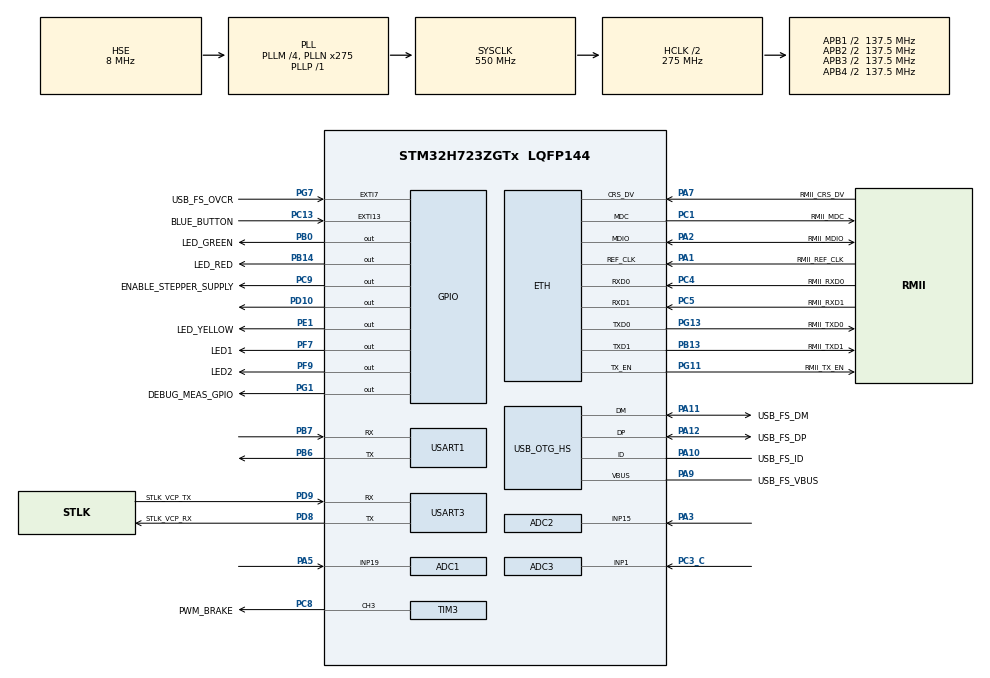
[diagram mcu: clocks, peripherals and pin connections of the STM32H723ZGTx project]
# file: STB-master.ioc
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ADC1.Channel-3\#ChannelRegularConversion=ADC_CHANNEL_19
ADC1.ClockPrescaler=ADC_CLOCK_SYNC_PCLK_DIV2
ADC1.ConversionDataManagement=ADC_CONVERSIONDATA_DMA_CIRCULAR
ADC1.EOCSelection=ADC_EOC_SEQ_CONV
ADC1.ExternalTrigConv=ADC_EXTERNALTRIG_T1_CC1
ADC1.NbrOfConversionFlag=1
ADC1.OffsetSignedSaturation-3\#ChannelRegularConversion=DISABLE
ADC1.Resolution=ADC_RESOLUTION_12B
ADC1.SamplingTime-3\#ChannelRegularConversion=ADC_SAMPLETIME_387CYCLES_5
ADC1.master=1
ADC2.Channel-2\#ChannelRegularConversion=ADC_CHANNEL_15
ADC2.ClockPrescaler=ADC_CLOCK_SYNC_PCLK_DIV2
ADC2.ConversionDataManagement=ADC_CONVERSIONDATA_DMA_CIRCULAR
ADC2.EOCSelection=ADC_EOC_SEQ_CONV
ADC2.ExternalTrigConv=ADC_EXTERNALTRIG_T1_CC2
ADC2.NbrOfConversionFlag=1
ADC2.OffsetSignedSaturation-2\#ChannelRegularConversion=DISABLE
ADC2.Resolution=ADC_RESOLUTION_12B
ADC2.SamplingTime-2\#ChannelRegularConversion=ADC_SAMPLETIME_387CYCLES_5
ADC3.Channel-0\#ChannelRegularConversion=ADC_CHANNEL_1
ADC3.ClockPrescaler=ADC_CLOCK_SYNC_PCLK_DIV2
ADC3.ConversionDataManagement=ADC_CONVERSIONDATA_DMA_CIRCULAR
ADC3.DMAContinuousRequests=ENABLE
ADC3.EOCSelection=ADC_EOC_SEQ_CONV
ADC3.ExternalTrigConv=ADC_EXTERNALTRIG_T1_CC3
ADC3.NbrOfConversionFlag=1
ADC3.SamplingTime-0\#ChannelRegularConversion=ADC3_SAMPLETIME_640CYCLES_5
Dma.ADC1.2.Direction=DMA_PERIPH_TO_MEMORY
Dma.ADC1.2.EventEnable=DISABLE
Dma.ADC1.2.FIFOMode=DMA_FIFOMODE_DISABLE
Dma.ADC1.2.Instance=DMA1_Stream1
Dma.ADC1.2.MemDataAlignment=DMA_MDATAALIGN_HALFWORD
Dma.ADC1.2.MemInc=DMA_MINC_ENABLE
Dma.ADC1.2.Mode=DMA_CIRCULAR
Dma.ADC1.2.PeriphDataAlignment=DMA_PDATAALIGN_HALFWORD
Dma.ADC1.2.PeriphInc=DMA_PINC_DISABLE
Dma.ADC1.2.Polarity=HAL_DMAMUX_REQ_GEN_RISING
Dma.ADC1.2.Priority=DMA_PRIORITY_MEDIUM
Dma.ADC1.2.RequestNumber=1
Dma.ADC1.2.SignalID=NONE
Dma.ADC1.2.SyncEnable=DISABLE
Dma.ADC1.2.SyncPolarity=HAL_DMAMUX_SYNC_NO_EVENT
Dma.ADC1.2.SyncRequestNumber=1
Dma.ADC1.2.SyncSignalID=NONE
Dma.ADC2.1.Direction=DMA_PERIPH_TO_MEMORY
Dma.ADC2.1.EventEnable=DISABLE
Dma.ADC2.1.FIFOMode=DMA_FIFOMODE_DISABLE
Dma.ADC2.1.Instance=DMA1_Stream0
Dma.ADC2.1.MemDataAlignment=DMA_MDATAALIGN_HALFWORD
Dma.ADC2.1.MemInc=DMA_MINC_ENABLE
Dma.ADC2.1.Mode=DMA_CIRCULAR
Dma.ADC2.1.PeriphDataAlignment=DMA_PDATAALIGN_HALFWORD
Dma.ADC2.1.PeriphInc=DMA_PINC_DISABLE
Dma.ADC2.1.Polarity=HAL_DMAMUX_REQ_GEN_RISING
Dma.ADC2.1.Priority=DMA_PRIORITY_MEDIUM
Dma.ADC2.1.RequestNumber=1
Dma.ADC2.1.SignalID=NONE
Dma.ADC2.1.SyncEnable=DISABLE
Dma.ADC2.1.SyncPolarity=HAL_DMAMUX_SYNC_NO_EVENT
Dma.ADC2.1.SyncRequestNumber=1
Dma.ADC2.1.SyncSignalID=NONE
Dma.ADC3.0.Direction=DMA_PERIPH_TO_MEMORY
Dma.ADC3.0.EventEnable=DISABLE
Dma.ADC3.0.FIFOMode=DMA_FIFOMODE_DISABLE
Dma.ADC3.0.Instance=DMA1_Stream2
Dma.ADC3.0.MemDataAlignment=DMA_MDATAALIGN_HALFWORD
Dma.ADC3.0.MemInc=DMA_MINC_ENABLE
Dma.ADC3.0.Mode=DMA_CIRCULAR
Dma.ADC3.0.PeriphDataAlignment=DMA_PDATAALIGN_HALFWORD
Dma.ADC3.0.PeriphInc=DMA_PINC_DISABLE
Dma.ADC3.0.Polarity=HAL_DMAMUX_REQ_GEN_RISING
Dma.ADC3.0.Priority=DMA_PRIORITY_MEDIUM
Dma.ADC3.0.RequestNumber=1
Dma.ADC3.0.SignalID=NONE
Dma.ADC3.0.SyncEnable=DISABLE
Dma.ADC3.0.SyncPolarity=HAL_DMAMUX_SYNC_NO_EVENT
Dma.ADC3.0.SyncRequestNumber=1
Dma.ADC3.0.SyncSignalID=NONE
Dma.Request0=ADC3
Dma.Request1=ADC2
Dma.Request2=ADC1
ETH.MediaInterface=HAL_ETH_RMII_MODE
Mcu.Family=STM32H7
Mcu.Name=STM32H723ZGTx
Mcu.Package=LQFP144
NVIC.ADC3_IRQn=true\:0\:0\:false\:false\:true\:true\:true\:true
NVIC.ADC_IRQn=true\:0\:0\:false\:false\:true\:true\:true\:true
NVIC.DMA1_Stream0_IRQn=true\:0\:0\:false\:false\:true\:false\:true\:true
NVIC.DMA1_Stream1_IRQn=true\:0\:0\:false\:false\:true\:false\:true\:true
NVIC.DMA1_Stream2_IRQn=true\:0\:0\:false\:false\:true\:false\:true\:true
NVIC.EXTI15_10_IRQn=true\:0\:0\:false\:false\:true\:true\:true\:true
NVIC.PriorityGroup=NVIC_PRIORITYGROUP_4
NVIC.TIM1_BRK_IRQn=true\:0\:0\:false\:false\:true\:true\:true\:true
NVIC.TIM1_CC_IRQn=true\:0\:0\:false\:false\:true\:true\:true\:true
NVIC.TIM1_TRG_COM_IRQn=true\:0\:0\:false\:false\:true\:true\:true\:true
NVIC.TIM1_UP_IRQn=true\:0\:0\:false\:false\:true\:true\:true\:true
NVIC.TIM5_IRQn=true\:0\:0\:false\:false\:true\:true\:true\:true
NVIC.USART1_IRQn=true\:0\:0\:false\:false\:true\:true\:true\:true
NVIC.USART3_IRQn=true\:0\:0\:false\:false\:true\:true\:true\:true
PA1.GPIO_Label=RMII_REF_CLK
PA1.Mode=RMII
PA1.Signal=ETH_REF_CLK
PA10.GPIO_Label=USB_FS_ID
PA10.Mode=OTG/Dual-Role-Device-FS
PA10.Signal=USB_OTG_HS_ID
PA11.GPIO_Label=USB_FS_DM
PA11.Mode=OTG/Dual-Role-Device-FS
PA11.Signal=USB_OTG_HS_DM
PA12.GPIO_Label=USB_FS_DP
PA12.Mode=OTG/Dual-Role-Device-FS
PA12.Signal=USB_OTG_HS_DP
PA13(JTMS/SWDIO).GPIO_Label=SWDIO
PA13(JTMS/SWDIO).Mode=Trace_Asynchronous_SW
PA13(JTMS/SWDIO).Signal=DEBUG_JTMS-SWDIO
PA14(JTCK/SWCLK).GPIO_Label=SWCLK
PA14(JTCK/SWCLK).Mode=Trace_Asynchronous_SW
PA14(JTCK/SWCLK).Signal=DEBUG_JTCK-SWCLK
PA2.GPIO_Label=RMII_MDIO
PA2.Mode=RMII
PA2.Signal=ETH_MDIO
PA3.GPIO_Mode=GPIO_MODE_ANALOG
PA3.GPIO_PuPd=GPIO_NOPULL
PA3.Signal=ADCx_INP15
PA5.GPIO_Mode=GPIO_MODE_ANALOG
PA5.GPIO_PuPd=GPIO_NOPULL
PA5.Signal=ADCx_INP19
PA7.GPIO_Label=RMII_CRS_DV
PA7.Mode=RMII
PA7.Signal=ETH_CRS_DV
PA9.GPIO_Label=USB_FS_VBUS
PA9.Mode=Activate_VBUS_FS
PA9.Signal=USB_OTG_HS_VBUS
PB0.GPIO_Label=LED_GREEN
PB0.Signal=GPIO_Output
PB13.GPIO_Label=RMII_TXD1
PB13.Mode=RMII
PB13.Signal=ETH_TXD1
PB14.GPIO_Label=LED_RED
PB14.Signal=GPIO_Output
PB3(JTDO/TRACESWO).GPIO_Label=SWO
PB3(JTDO/TRACESWO).Mode=Trace_Asynchronous_SW
PB3(JTDO/TRACESWO).Signal=DEBUG_JTDO-SWO
PB6.Mode=Asynchronous
PB6.Signal=USART1_TX
PB7.Mode=Asynchronous
PB7.Signal=USART1_RX
PC1.GPIO_Label=RMII_MDC
PC1.Mode=RMII
PC1.Signal=ETH_MDC
PC13.GPIO_Label=BLUE_BUTTON
PC13.Signal=GPXTI13
PC14-OSC32_IN.Mode=LSE-External-Oscillator
PC14-OSC32_IN.Signal=RCC_OSC32_IN
PC15-OSC32_OUT.Mode=LSE-External-Oscillator
PC15-OSC32_OUT.Signal=RCC_OSC32_OUT
PC3_C.GPIO_Mode=GPIO_MODE_ANALOG
PC3_C.GPIO_PuPd=GPIO_NOPULL
PC3_C.Mode=IN1-Single-Ended
PC3_C.Signal=ADC3_INP1
PC4.GPIO_Label=RMII_RXD0
PC4.Mode=RMII
PC4.Signal=ETH_RXD0
PC5.GPIO_Label=RMII_RXD1
PC5.Mode=RMII
PC5.Signal=ETH_RXD1
PC8.GPIO_Label=PWM_BRAKE
PC8.Signal=S_TIM3_CH3
PC9.GPIO_Label=ENABLE_STEPPER_SUPPLY
PC9.Signal=GPIO_Output
PD10.Signal=GPIO_Output
PD8.GPIO_Label=STLK_VCP_RX
PD8.Mode=Asynchronous
PD8.Signal=USART3_TX
PD9.GPIO_Label=STLK_VCP_TX
PD9.Mode=Asynchronous
PD9.Signal=USART3_RX
PE1.GPIO_Label=LED_YELLOW
PE1.Signal=GPIO_Output
PF7.GPIO_Label=LED1
PF7.Signal=GPIO_Output
PF9.GPIO_Label=LED2
PF9.Signal=GPIO_Output
PG1.GPIO_Label=DEBUG_MEAS_GPIO
PG1.Signal=GPIO_Output
PG11.GPIO_Label=RMII_TX_EN
PG11.Mode=RMII
PG11.Signal=ETH_TX_EN
PG13.GPIO_Label=RMII_TXD0
PG13.Mode=RMII
PG13.Signal=ETH_TXD0
PG7.GPIO_Label=USB_FS_OVCR
PG7.Signal=GPXTI7
PH0-OSC_IN.GPIO_Label=MCO
PH0-OSC_IN.Mode=HSE-External-Clock-Source
PH0-OSC_IN.Signal=RCC_OSC_IN
PH1-OSC_OUT.Signal=RCC_OSC_OUT
ProjectManager.HeapSize=0x200
ProjectManager.StackSize=0x400
ProjectManager.TargetToolchain=Makefile
RCC.ADCFreq_Value=96000000
RCC.APB1Freq_Value=137500000
RCC.APB2Freq_Value=137500000
RCC.APB3Freq_Value=137500000
RCC.APB4Freq_Value=137500000
RCC.CortexFreq_Value=550000000
RCC.D1PPRE=RCC_APB3_DIV2
RCC.D2PPRE1=RCC_APB1_DIV2
RCC.D2PPRE2=RCC_APB2_DIV2
RCC.D3PPRE=RCC_APB4_DIV2
RCC.DIVM1=4
RCC.DIVM2=1
RCC.DIVN1=275
RCC.DIVN2=24
RCC.DIVP1=1
RCC.DIVQ1=4
RCC.HCLKFreq_Value=275000000
RCC.HPRE=RCC_HCLK_DIV2
RCC.HSE_VALUE=8000000
RCC.PLLSourceVirtual=RCC_PLLSOURCE_HSE
RCC.SYSCLKFreq_VALUE=550000000
RCC.SYSCLKSource=RCC_SYSCLKSOURCE_PLLCLK
RCC.USBCLockSelection=RCC_USBCLKSOURCE_HSI48
RCC.USBFreq_Value=48000000
SH.ADCx_INP15.0=ADC2_INP15,IN15-Single-Ended
SH.ADCx_INP19.0=ADC1_INP19,IN19-Single-Ended
SH.S_TIM3_CH3.0=TIM3_CH3,PWM Generation3 CH3
TIM1.AutoReloadPreload=TIM_AUTORELOAD_PRELOAD_ENABLE
TIM1.Channel-PWM\ Generation1\ No\ Output=TIM_CHANNEL_1
TIM1.Channel-PWM\ Generation2\ No\ Output=TIM_CHANNEL_2
TIM1.Channel-PWM\ Generation3\ No\ Output=TIM_CHANNEL_3
TIM1.Period=275 - 1
TIM1.Prescaler=5000 - 1
TIM1.Pulse-PWM\ Generation1\ No\ Output=275 - 1
TIM1.Pulse-PWM\ Generation2\ No\ Output=275 - 1
TIM1.Pulse-PWM\ Generation3\ No\ Output=275 - 1
TIM1.TIM_MasterOutputTrigger=TIM_TRGO_UPDATE
TIM1.TIM_MasterSlaveMode=TIM_MASTERSLAVEMODE_ENABLE
TIM3.Channel-PWM\ Generation3\ CH3=TIM_CHANNEL_3
TIM3.Period=40
TIM3.Prescaler=137
TIM5.AutoReloadPreload=TIM_AUTORELOAD_PRELOAD_ENABLE
TIM5.Channel-Output\ Compare1\ No\ Output=TIM_CHANNEL_1
TIM5.Channel-Output\ Compare2\ No\ Output=TIM_CHANNEL_2
TIM5.Channel-Output\ Compare3\ No\ Output=TIM_CHANNEL_3
TIM5.OCMode_3=TIM_OCMODE_ACTIVE
TIM5.Period=275 - 1
TIM5.Prescaler=5000 - 1
TIM5.Pulse-Output\ Compare1\ No\ Output=275 - 1
TIM5.Pulse-Output\ Compare2\ No\ Output=275 - 1
TIM5.Pulse-Output\ Compare3\ No\ Output=275 - 1
TIM5.TIM_MasterOutputTrigger=TIM_TRGO_UPDATE
USART1.VirtualMode-Asynchronous=VM_ASYNC
USART3.VirtualMode-Asynchronous=VM_ASYNC
VP_TIM1_VS_ClockSourceINT.Mode=Internal
VP_TIM1_VS_ClockSourceITR.Mode=TriggerSource_ITR0
VP_TIM1_VS_no_output1.Mode=PWM Generation1 No Output
VP_TIM1_VS_no_output2.Mode=PWM Generation2 No Output
VP_TIM1_VS_no_output3.Mode=PWM Generation3 No Output
VP_TIM5_VS_ClockSourceINT.Mode=Internal
VP_TIM5_VS_no_output1.Mode=Output Compare1 No Output
VP_TIM5_VS_no_output2.Mode=Output Compare2 No Output
VP_TIM5_VS_no_output3.Mode=Output Compare3 No Output
board=NUCLEO-H723ZG

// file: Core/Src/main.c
/* USER CODE BEGIN Header */
/**
 ******************************************************************************
 * @file           : main.c
 * @brief          : Main program body
 ******************************************************************************
 * @attention
 *
 * <h2><center>&copy; Copyright (c) 2022 STMicroelectronics.
 * All rights reserved.</center></h2>
 *
 * This software component is licensed by ST under BSD 3-Clause license,
 * the "License"; You may not use this file except in compliance with the
 * License. You may obtain a copy of the License at:
 *                        opensource.org/licenses/BSD-3-Clause
 *
 ******************************************************************************
 */
/* USER CODE END Header */
#include "main.h"
#include "adc.h"
#include "dma.h"
#include "eth.h"
#include "tim.h"
#include "usart.h"
#include "usb_otg.h"
#include "gpio.h"

/* USER CODE BEGIN Includes */
#include "brake.h"
#include "pwm.h"
#include "slave_cmd_utils.h"
#include "timer_utils.h"

#include <stdbool.h>
#include <stdio.h>
#include <string.h>
/* USER CODE END Includes */

/* USER CODE BEGIN PD */
#define CMD_PAYLOAD_LENGHT       100
#define MAX_CMD_SEND_ATTEMPTS    100
#define MAX_ACK_DELAY_ALLOWED_MS 200
/* USER CODE END PD */

/* USER CODE BEGIN PV */

typedef struct {
    bool is_word_complete;
    char cmd_received[CMD_PAYLOAD_LENGHT];
    char last_char_received;
    uint8_t char_index;
} uart_rx_handler;

uart_rx_handler gui_cmd_handler;
uart_rx_handler slave_cmd_handler;

typedef enum {
    INIT = 0U,
    WAITING_FOR_CMD,
    CMD_RECEIVED,
    SEND_START_MOTOR_CMD,
    GET_MOTOR_ACK_ON_START,
    MOTOR_IS_RUNNING,
    SENSORS_READING,
    SEND_STOP_MOTOR_CMD,
    GET_MOTOR_ACK_ON_STOP,
    MOTOR_IS_STOPPED
} master_state;

typedef struct {
    master_state current_state;
    master_state next_state;
    bool go_to_next_state;
} master_state_machine;

master_state_machine msm_handler;

typedef struct {
    bool is_powered;
} stepper_handler;

stepper_handler stepper;
uint8_t sendings_attempts_done = 0;
uint32_t current_tick          = 0;
uint32_t deadline              = 0;

// ADC variables
volatile float torque_gpio;
volatile float board_voltage;
volatile float stepper_current;
char adc_out[100];
/* USER CODE END PV */

void SystemClock_Config(void);
/* USER CODE BEGIN PFP */
bool parse_gui_cmd(char *cmd_rx);
void reset_cmd(uart_rx_handler *uart_handler);
void update_sensor_values();
void update_sensor_values_and_print();
/* USER CODE END PFP */

int main(void)
{
  /* USER CODE BEGIN 1 */

    // INIT PHASE
    msm_handler.current_state    = INIT;
    msm_handler.next_state       = WAITING_FOR_CMD;
    msm_handler.go_to_next_state = true;
    reset_cmd(&gui_cmd_handler);
    reset_cmd(&slave_cmd_handler);
    stepper.is_powered = false;

    uint32_t sensor_time = 5000;
  /* USER CODE END 1 */

  /* MCU Configuration--------------------------------------------------------*/

  /* Reset of all peripherals, Initializes the Flash interface and the Systick. */
  HAL_Init();

  /* USER CODE BEGIN Init */
    MX_GPIO_Init();
    MX_DMA_Init();
  /* USER CODE END Init */

  /* Configure the system clock */
  SystemClock_Config();

  /* Initialize all configured peripherals */
  MX_GPIO_Init();
  MX_ETH_Init();
  MX_USART3_UART_Init();
  MX_USB_OTG_HS_USB_Init();
  MX_ADC1_Init();
  MX_ADC2_Init();
  MX_USART1_UART_Init();
  MX_TIM1_Init();
  MX_DMA_Init();
  MX_ADC3_Init();
  MX_TIM3_Init();
  MX_TIM5_Init();
  /* USER CODE BEGIN 2 */

    /*
        Please note that sometimes CubeMX will put MX_DMA_Init() after all the MX_ADCx_Init() functions
        this may be occur in some DMA errors, as conquence it's it advised to keep the following structure:

        MX_GPIO_Init();
        MX_DMA_Init();
        SystemClock_Config();
        ...
        MX_ADC1_Init();
        MX_ADC2_Init();
        MX_ADC3_Init();

        In the case where DMA goes into overrun error please check this
        https://community.st.com/s/article/FAQ-DMA-is-not-working-on-STM32H7-devices

    */

    HAL_GPIO_WritePin(ENABLE_STEPPER_SUPPLY_GPIO_Port, ENABLE_STEPPER_SUPPLY_Pin, GPIO_PIN_RESET);
    memset(adc_out, 0x00, sizeof(adc_out));
    brake_init(&magnetic_brake);
    brake_set_pwm_duty_cycle(&magnetic_brake, 0.5);

    ADC_Calibration();
    ADC_start_DMA_readings();

  /* USER CODE END 2 */

  /* Infinite loop */
  /* USER CODE BEGIN WHILE */
    while (1) {
        if (msm_handler.go_to_next_state) {
            msm_handler.current_state = msm_handler.next_state;
        }
        switch (msm_handler.current_state) {
            case INIT:
                HAL_NVIC_SystemReset();
                break;
            case WAITING_FOR_CMD:
                // Continuous receiving
                HAL_UART_Receive_IT(&UART_USB, (uint8_t *)&gui_cmd_handler.last_char_received, sizeof(char));
                if (gui_cmd_handler.is_word_complete) {
                    msm_handler.next_state       = CMD_RECEIVED;
                    msm_handler.go_to_next_state = true;
                }
                break;
            case CMD_RECEIVED:
                if (parse_gui_cmd(gui_cmd_handler.cmd_received) &&
                    strcmp(gui_cmd_handler.cmd_received, "start_motor\r\n") == 0) {
                    // IDEALLY THE MOTOR RUNS FOREVER
                    msm_handler.next_state       = SEND_START_MOTOR_CMD;
                    msm_handler.go_to_next_state = true;
                } else {
                    msm_handler.next_state       = WAITING_FOR_CMD;
                    msm_handler.go_to_next_state = true;
                }
                reset_cmd(&gui_cmd_handler);
                break;
            case SEND_START_MOTOR_CMD:
                if (sendings_attempts_done < MAX_CMD_SEND_ATTEMPTS) {
                    HAL_UART_Transmit(&UART_SLAVE, (uint8_t *)"fw+999999\r\n", sizeof("fw+999999\r\n"), 100);
                    reset_cmd(&slave_cmd_handler);
                    sendings_attempts_done++;
                    msm_handler.next_state       = GET_MOTOR_ACK_ON_START;
                    msm_handler.go_to_next_state = true;
                } else {
                    msm_handler.next_state       = WAITING_FOR_CMD;
                    msm_handler.go_to_next_state = true;
                    sendings_attempts_done       = 0;
                }
                break;
            case GET_MOTOR_ACK_ON_START:
                current_tick = HAL_GetTick();
                deadline     = current_tick + 10 * MAX_ACK_DELAY_ALLOWED_MS;
                while (current_tick < deadline) {
                    HAL_UART_Receive_IT(&UART_SLAVE, (uint8_t *)&slave_cmd_handler.last_char_received, sizeof(char));
                    if (slave_cmd_handler.is_word_complete &&
                        strcmp(slave_cmd_handler.cmd_received, "start_ack\r\n") == 0) {
                        reset_cmd(&slave_cmd_handler);
                        reset_cmd(&gui_cmd_handler);
                        msm_handler.next_state       = MOTOR_IS_RUNNING;
                        msm_handler.go_to_next_state = true;
                        current_tick                 = deadline;
                    } else {
                        current_tick = HAL_GetTick();
                    }
                }
                // If timeout has elapsed
                if (msm_handler.next_state == GET_MOTOR_ACK_ON_START) {
                    msm_handler.next_state       = SEND_START_MOTOR_CMD;
                    msm_handler.go_to_next_state = true;
                }
                break;
            case MOTOR_IS_RUNNING:
                // do stuffs
                msm_handler.next_state       = SENSORS_READING;
                msm_handler.go_to_next_state = true;
                current_tick                 = HAL_GetTick();
                deadline                     = current_tick + sensor_time;
                break;

            case SENSORS_READING:
                while (current_tick < deadline) {
                    update_sensor_values_and_print();
                    current_tick = HAL_GetTick();
                }
                // do stuffs
                msm_handler.next_state       = SEND_STOP_MOTOR_CMD;
                msm_handler.go_to_next_state = true;
                break;
            case SEND_STOP_MOTOR_CMD:
                if (sendings_attempts_done < MAX_CMD_SEND_ATTEMPTS) {
                    HAL_UART_Transmit(&UART_SLAVE, (uint8_t *)MOTOR_STOP_FOREVER, sizeof(MOTOR_STOP_FOREVER), 100);
                    reset_cmd(&slave_cmd_handler);
                    sendings_attempts_done++;
                    msm_handler.next_state       = GET_MOTOR_ACK_ON_STOP;
                    msm_handler.go_to_next_state = true;
                } else {
                    msm_handler.next_state       = WAITING_FOR_CMD;
                    msm_handler.go_to_next_state = true;
                }
                break;
            case GET_MOTOR_ACK_ON_STOP:
                current_tick = HAL_GetTick();
                deadline     = current_tick + 10 * MAX_ACK_DELAY_ALLOWED_MS;
                while (current_tick < deadline) {
                    HAL_UART_Receive_IT(&UART_SLAVE, (uint8_t *)&slave_cmd_handler.last_char_received, sizeof(char));
                    if (slave_cmd_handler.is_word_complete &&
                        strcmp(slave_cmd_handler.cmd_received, "stop_ack\r\n") == 0) {
                        reset_cmd(&slave_cmd_handler);
                        reset_cmd(&gui_cmd_handler);
                        msm_handler.next_state       = MOTOR_IS_STOPPED;
                        msm_handler.go_to_next_state = true;
                        current_tick                 = deadline;
                    } else {
                        current_tick = HAL_GetTick();
                    }
                }
                // If timeout has elapsed
                if (msm_handler.next_state == GET_MOTOR_ACK_ON_STOP) {
                    msm_handler.next_state       = SEND_STOP_MOTOR_CMD;
                    msm_handler.go_to_next_state = true;
                }
                break;
            case MOTOR_IS_STOPPED:
                //turn off transistor
                HAL_Delay(2000);
                msm_handler.next_state       = WAITING_FOR_CMD;
                msm_handler.go_to_next_state = true;
                break;
        }

    /* USER CODE END WHILE */

    }
}

void SystemClock_Config(void)
{
  RCC_OscInitTypeDef RCC_OscInitStruct = {0};
  RCC_ClkInitTypeDef RCC_ClkInitStruct = {0};

  /** Supply configuration update enable
  */
  HAL_PWREx_ConfigSupply(PWR_LDO_SUPPLY);
  /** Configure the main internal regulator output voltage
  */
  __HAL_PWR_VOLTAGESCALING_CONFIG(PWR_REGULATOR_VOLTAGE_SCALE0);

  while(!__HAL_PWR_GET_FLAG(PWR_FLAG_VOSRDY)) {}
  /** Initializes the RCC Oscillators according to the specified parameters
  * in the RCC_OscInitTypeDef structure.
  */
  RCC_OscInitStruct.OscillatorType = RCC_OSCILLATORTYPE_HSI48|RCC_OSCILLATORTYPE_HSE;
  RCC_OscInitStruct.HSEState = RCC_HSE_BYPASS;
  RCC_OscInitStruct.HSI48State = RCC_HSI48_ON;
  RCC_OscInitStruct.PLL.PLLState = RCC_PLL_ON;
  RCC_OscInitStruct.PLL.PLLSource = RCC_PLLSOURCE_HSE;
  RCC_OscInitStruct.PLL.PLLM = 4;
  RCC_OscInitStruct.PLL.PLLN = 275;
  RCC_OscInitStruct.PLL.PLLP = 1;
  RCC_OscInitStruct.PLL.PLLQ = 4;
  RCC_OscInitStruct.PLL.PLLR = 2;
  RCC_OscInitStruct.PLL.PLLRGE = RCC_PLL1VCIRANGE_1;
  RCC_OscInitStruct.PLL.PLLVCOSEL = RCC_PLL1VCOWIDE;
  RCC_OscInitStruct.PLL.PLLFRACN = 0;
  if (HAL_RCC_OscConfig(&RCC_OscInitStruct) != HAL_OK)
  {
    Error_Handler();
  }
  /** Initializes the CPU, AHB and APB buses clocks
  */
  RCC_ClkInitStruct.ClockType = RCC_CLOCKTYPE_HCLK|RCC_CLOCKTYPE_SYSCLK
                              |RCC_CLOCKTYPE_PCLK1|RCC_CLOCKTYPE_PCLK2
                              |RCC_CLOCKTYPE_D3PCLK1|RCC_CLOCKTYPE_D1PCLK1;
  RCC_ClkInitStruct.SYSCLKSource = RCC_SYSCLKSOURCE_PLLCLK;
  RCC_ClkInitStruct.SYSCLKDivider = RCC_SYSCLK_DIV1;
  RCC_ClkInitStruct.AHBCLKDivider = RCC_HCLK_DIV2;
  RCC_ClkInitStruct.APB3CLKDivider = RCC_APB3_DIV2;
  RCC_ClkInitStruct.APB1CLKDivider = RCC_APB1_DIV2;
  RCC_ClkInitStruct.APB2CLKDivider = RCC_APB2_DIV2;
  RCC_ClkInitStruct.APB4CLKDivider = RCC_APB4_DIV2;

  if (HAL_RCC_ClockConfig(&RCC_ClkInitStruct, FLASH_LATENCY_3) != HAL_OK)
  {
    Error_Handler();
  }
}

/* USER CODE BEGIN 4 */

void HAL_UART_RxCpltCallback(UART_HandleTypeDef *huart) {
    if (huart->Instance == UART_USB.Instance) {
        gui_cmd_handler.cmd_received[gui_cmd_handler.char_index] = gui_cmd_handler.last_char_received;
        gui_cmd_handler.char_index++;
        if (gui_cmd_handler.last_char_received == '\n') {
            gui_cmd_handler.is_word_complete = true;
        }
    } else if (huart->Instance == UART_SLAVE.Instance) {
        slave_cmd_handler.cmd_received[slave_cmd_handler.char_index] = slave_cmd_handler.last_char_received;
        slave_cmd_handler.char_index++;
        if (slave_cmd_handler.last_char_received == '\n') {
            slave_cmd_handler.is_word_complete = true;
        }
    }
}

void reset_cmd(uart_rx_handler *uart_handler) {
    uart_handler->char_index = 0;
    memset(uart_handler->cmd_received, 0x0, sizeof(uart_handler->cmd_received));
    uart_handler->is_word_complete = false;
}

bool parse_gui_cmd(char *cmd_rx) {
    bool cmd_is_valid = true;
    char gui_output[12];
    if (strcmp(cmd_rx, "brake+\r\n") == 0) {
        if (!magnetic_brake.is_braking) {
            brake_on(&magnetic_brake);
        }
        brake_increase_duty(&magnetic_brake, BRAKE_STEP);
        memset(gui_output, 0x00, sizeof(gui_output));
        sprintf(gui_output, "PWM+%.2f\r\n", magnetic_brake.pwm_duty_cycle);
        HAL_UART_Transmit(&UART_USB, (uint8_t *)gui_output, sizeof(gui_output), 100);
    } else if (strcmp(cmd_rx, "brake-\r\n") == 0) {
        if (!magnetic_brake.is_braking) {
            brake_on(&magnetic_brake);
        }
        brake_decrease_duty(&magnetic_brake, BRAKE_STEP);
        memset(gui_output, 0x00, sizeof(gui_output));
        sprintf(gui_output, "PWM+%.2f\r\n", magnetic_brake.pwm_duty_cycle);
        HAL_UART_Transmit(&UART_USB, (uint8_t *)gui_output, sizeof(gui_output), 100);
    } else if (strcmp(cmd_rx, "brake_off\r\n") == 0) {
        brake_set_pwm_duty_cycle(&magnetic_brake, MIN_ALLOWED_PWM_DUTY);
        brake_off(&magnetic_brake);
    } else if (strcmp(cmd_rx, "brake_on_max\r\n") == 0) {
        brake_set_pwm_duty_cycle(&magnetic_brake, MAX_ALLOWED_PWM_DUTY);
        brake_on(&magnetic_brake);
    } else if (strcmp(cmd_rx, "start_motor\r\n") == 0) {
    } else {
        cmd_is_valid = false;
    }
    return cmd_is_valid;
}

void HAL_GPIO_EXTI_Callback(uint16_t pin) {
    if (pin == BLUE_BUTTON_Pin) {
        (stepper.is_powered)
            ? HAL_GPIO_WritePin(ENABLE_STEPPER_SUPPLY_GPIO_Port, ENABLE_STEPPER_SUPPLY_Pin, GPIO_PIN_RESET)
            : HAL_GPIO_WritePin(ENABLE_STEPPER_SUPPLY_GPIO_Port, ENABLE_STEPPER_SUPPLY_Pin, GPIO_PIN_SET);
        stepper.is_powered = !stepper.is_powered;
    }
}

void update_sensor_values() {
    torque_gpio     = ADC_get_voltage_to_gpio_level();
    board_voltage   = ADC_get_voltage_converted();
    stepper_current = ADC_get_current_converted();
}

void update_sensor_values_and_print() {
    torque_gpio     = ADC_get_voltage_to_gpio_level();
    board_voltage   = ADC_get_voltage_converted();
    stepper_current = ADC_get_current_converted();

    sprintf(
        adc_out, "Current: %.2f A | STB supply: %.2f V | Trq: %.2f \r\n", stepper_current, board_voltage, torque_gpio);
    HAL_UART_Transmit(&UART_USB, (uint8_t *)adc_out, sizeof(adc_out), 100);
}

/* USER CODE END 4 */

void Error_Handler(void)
{
    __disable_irq();
    while (1) {
    }
}

/************************ (C) COPYRIGHT STMicroelectronics *****END OF FILE****/
